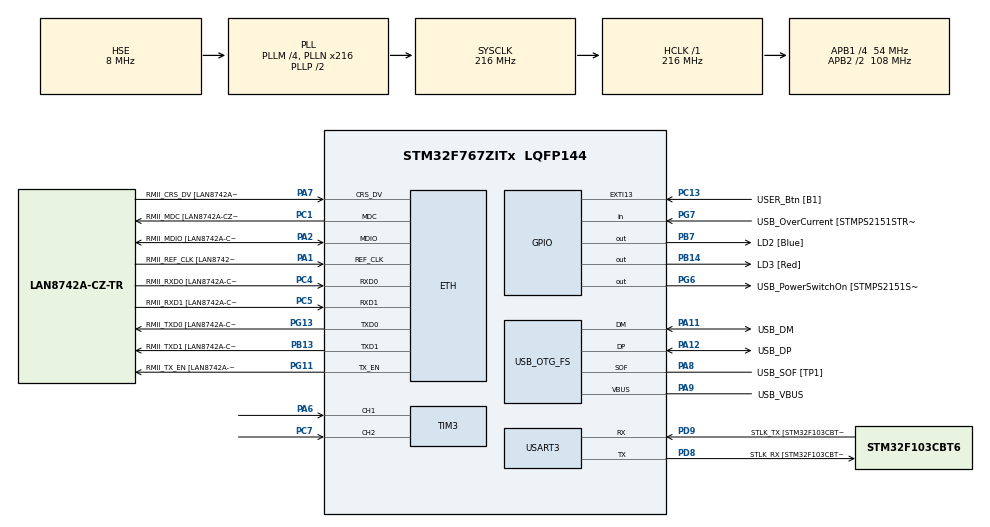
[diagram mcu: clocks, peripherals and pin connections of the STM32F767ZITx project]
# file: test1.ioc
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CORTEX_M7.default_mode_Activation=1
ETH.MediaInterface=HAL_ETH_RMII_MODE
ETH.PHY_Name=LAN8742A_PHY_ADDRESS
ETH.PHY_Value=0
ETH.PhyAddress=0
LWIP.BSP.number=1
LWIP.GATEWAY_ADDRESS=192.168.001.001
LWIP.IP_ADDRESS=192.168.001.100
LWIP.LWIP_DHCP=0
LWIP.NETMASK_ADDRESS=255.255.255.000
LWIP.Version=v2.1.2_Cube
LWIP0.BSP.STBoard=false
LWIP0.BSP.api=BSP_COMPONENT_DRIVER
LWIP0.BSP.component=LAN8742
LWIP0.BSP.instance=LAN8742
LWIP0.BSP.name=Driver_PHY
LWIP0.BSP.semaphore=S_LAN8742
LWIP0.BSP.solution=LAN8742
Mcu.Family=STM32F7
Mcu.Name=STM32F767ZITx
Mcu.Package=LQFP144
NVIC.PriorityGroup=NVIC_PRIORITYGROUP_4
PA1.GPIO_Label=RMII_REF_CLK [LAN8742A-CZ-TR_REFCLK0]
PA1.Mode=RMII
PA1.Signal=ETH_REF_CLK
PA10.GPIO_Label=USB_ID
PA10.Signal=USB_OTG_FS_ID
PA11.GPIO_Label=USB_DM
PA11.Mode=Device_Only
PA11.Signal=USB_OTG_FS_DM
PA12.GPIO_Label=USB_DP
PA12.Mode=Device_Only
PA12.Signal=USB_OTG_FS_DP
PA13.GPIO_Label=TMS
PA13.Mode=Serial_Wire
PA13.Signal=SYS_JTMS-SWDIO
PA14.GPIO_Label=TCK
PA14.Mode=Serial_Wire
PA14.Signal=SYS_JTCK-SWCLK
PA2.GPIO_Label=RMII_MDIO [LAN8742A-CZ-TR_MDIO]
PA2.Mode=RMII
PA2.Signal=ETH_MDIO
PA6.Signal=S_TIM3_CH1
PA7.GPIO_Label=RMII_CRS_DV [LAN8742A-CZ-TR_CRS_DV]
PA7.Mode=RMII
PA7.Signal=ETH_CRS_DV
PA8.GPIO_Label=USB_SOF [TP1]
PA8.Mode=Activate_SOF_FS
PA8.Signal=USB_OTG_FS_SOF
PA9.GPIO_Label=USB_VBUS
PA9.Mode=Activate_VBUS
PA9.Signal=USB_OTG_FS_VBUS
PB13.GPIO_Label=RMII_TXD1 [LAN8742A-CZ-TR_TXD1]
PB13.Mode=RMII
PB13.Signal=ETH_TXD1
PB14.GPIO_Label=LD3 [Red]
PB14.Signal=GPIO_Output
PB3.GPIO_Label=SWO
PB3.Signal=SYS_JTDO-SWO
PB7.GPIO_Label=LD2 [Blue]
PB7.Signal=GPIO_Output
PC1.GPIO_Label=RMII_MDC [LAN8742A-CZ-TR_MDC]
PC1.Mode=RMII
PC1.Signal=ETH_MDC
PC13.GPIO_Label=USER_Btn [B1]
PC13.Signal=GPXTI13
PC14/OSC32_IN.Mode=LSE-External-Oscillator
PC14/OSC32_IN.Signal=RCC_OSC32_IN
PC15/OSC32_OUT.Mode=LSE-External-Oscillator
PC15/OSC32_OUT.Signal=RCC_OSC32_OUT
PC4.GPIO_Label=RMII_RXD0 [LAN8742A-CZ-TR_RXD0]
PC4.Mode=RMII
PC4.Signal=ETH_RXD0
PC5.GPIO_Label=RMII_RXD1 [LAN8742A-CZ-TR_RXD1]
PC5.Mode=RMII
PC5.Signal=ETH_RXD1
PC7.Signal=S_TIM3_CH2
PD8.GPIO_Label=STLK_RX [STM32F103CBT6_PA3]
PD8.Mode=Asynchronous
PD8.Signal=USART3_TX
PD9.GPIO_Label=STLK_TX [STM32F103CBT6_PA2]
PD9.Mode=Asynchronous
PD9.Signal=USART3_RX
PG11.GPIO_Label=RMII_TX_EN [LAN8742A-CZ-TR_TXEN]
PG11.Mode=RMII
PG11.Signal=ETH_TX_EN
PG13.GPIO_Label=RMII_TXD0 [LAN8742A-CZ-TR_TXD0]
PG13.Mode=RMII
PG13.Signal=ETH_TXD0
PG6.GPIO_Label=USB_PowerSwitchOn [STMPS2151STR_EN]
PG6.Signal=GPIO_Output
PG7.GPIO_Label=USB_OverCurrent [STMPS2151STR_FAULT]
PG7.Signal=GPIO_Input
PH0/OSC_IN.GPIO_Label=MCO [STM32F103CBT6_PA8]
PH0/OSC_IN.Mode=HSE-External-Clock-Source
PH0/OSC_IN.Signal=RCC_OSC_IN
PH1/OSC_OUT.Mode=HSE-External-Clock-Source
PH1/OSC_OUT.Signal=RCC_OSC_OUT
ProjectManager.HeapSize=0x200
ProjectManager.StackSize=0x400
ProjectManager.TargetToolchain=STM32CubeIDE
RCC.48MHZClocksFreq_Value=24000000
RCC.AHBFreq_Value=216000000
RCC.APB1CLKDivider=RCC_HCLK_DIV4
RCC.APB1Freq_Value=54000000
RCC.APB1TimFreq_Value=108000000
RCC.APB2CLKDivider=RCC_HCLK_DIV2
RCC.APB2Freq_Value=108000000
RCC.APB2TimFreq_Value=216000000
RCC.CortexFreq_Value=216000000
RCC.HCLKFreq_Value=216000000
RCC.HSE_VALUE=8000000
RCC.HSI_VALUE=16000000
RCC.PLLM=4
RCC.PLLMUL=RCC_PLL_MUL9
RCC.PLLN=216
RCC.PLLQ=9
RCC.PRESCALERUSB=RCC_USBCLKSOURCE_PLL_DIV1_5
RCC.SYSCLKFreq_VALUE=216000000
RCC.SYSCLKSource=RCC_SYSCLKSOURCE_PLLCLK
RCC.SYSCLKSourceVirtual=RCC_SYSCLKSOURCE_PLLCLK
RCC.USBFreq_Value=48000000
RCC.VCOOutputFreq_Value=432000000
SH.S_TIM3_CH1.0=TIM3_CH1,Encoder_Interface
SH.S_TIM3_CH2.0=TIM3_CH2,Encoder_Interface
TIM3.EncoderMode=TIM_ENCODERMODE_TI12
USART3.VirtualMode-Asynchronous=VM_ASYNC
USB_OTG_FS.VirtualMode=Device_Only
VP_LWIP_VS_Enabled.Mode=Enabled
board=NUCLEO-F767ZI

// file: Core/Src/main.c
/* USER CODE BEGIN Header */
/**
  ******************************************************************************
  * @file           : main.c
  * @brief          : Main program body
  ******************************************************************************
  * @attention
  *
  * Copyright (c) 2026 STMicroelectronics.
  * All rights reserved.
  *
  * This software is licensed under terms that can be found in the LICENSE file
  * in the root directory of this software component.
  * If no LICENSE file comes with this software, it is provided AS-IS.
  *
  ******************************************************************************
  */
/* USER CODE END Header */
#include "main.h"
#include "lwip.h"

/* USER CODE BEGIN Includes */
#include "tcp_server.h"

/* USER CODE END Includes */

TIM_HandleTypeDef htim3;

UART_HandleTypeDef huart3;

PCD_HandleTypeDef hpcd_USB_OTG_FS;

/* USER CODE BEGIN PV */

/* Encoder state */
volatile int32_t encoder_position = 0;   /* cumulative count (never wraps)   */
volatile float   encoder_rpm      = 0.0f;

/* Internal tracking */
static uint32_t last_tick_ms = 0;
static uint16_t last_timer   = 0;

/* Timer period — must match what you set in CubeMX for TIM2 counter period   */
#define ENCODER_TIMER_PERIOD   65535u
/* Pulses per revolution × 4 (quadrature)                                    */
#define ENCODER_PPR            1000u
#define ENCODER_CPR            (ENCODER_PPR * 4u)   /* = 4000 counts/rev     */

/* USER CODE END PV */

void SystemClock_Config(void);
static void MPU_Config(void);
static void MX_GPIO_Init(void);
static void MX_USART3_UART_Init(void);
static void MX_USB_OTG_FS_PCD_Init(void);
static void MX_TIM3_Init(void);

int main(void)
{

  /* MPU Configuration--------------------------------------------------------*/
  MPU_Config();

  /* MCU Configuration--------------------------------------------------------*/

  /* Reset of all peripherals, Initializes the Flash interface and the Systick. */
  HAL_Init();

  /* Configure the system clock */
  SystemClock_Config();

  /* Initialize all configured peripherals */
  MX_GPIO_Init();
  MX_USART3_UART_Init();
  MX_USB_OTG_FS_PCD_Init();
  MX_LWIP_Init();
  MX_TIM3_Init();
  /* USER CODE BEGIN 2 */

  /* Start encoder timer — TIM2 in encoder mode */
  HAL_TIM_Encoder_Start(&htim3, TIM_CHANNEL_ALL);
  last_timer   = (uint16_t)__HAL_TIM_GET_COUNTER(&htim3);
  last_tick_ms = HAL_GetTick();

  /* Start HTTP server */
  tcp_server_init();

  /* USER CODE END 2 */

  /* Infinite loop */
  while (1)
  {

    /* USER CODE BEGIN 3 */
	  MX_LWIP_Process();

	      /* Encoder position update every 100ms */
	      uint32_t now = HAL_GetTick();
	      if ((now - last_tick_ms) >= 100)
	      {
	          uint16_t current_timer = (uint16_t)__HAL_TIM_GET_COUNTER(&htim3);
	          int16_t delta = (int16_t)(current_timer - last_timer);
	          encoder_position += (int32_t)delta;
	          last_timer   = current_timer;
	          last_tick_ms = now;
	      }
  }
  /* USER CODE END 3 */
}

void SystemClock_Config(void)
{
  RCC_OscInitTypeDef RCC_OscInitStruct = {0};
  RCC_ClkInitTypeDef RCC_ClkInitStruct = {0};

  /** Configure LSE Drive Capability
  */
  HAL_PWR_EnableBkUpAccess();

  /** Configure the main internal regulator output voltage
  */
  __HAL_RCC_PWR_CLK_ENABLE();
  __HAL_PWR_VOLTAGESCALING_CONFIG(PWR_REGULATOR_VOLTAGE_SCALE1);

  /** Initializes the RCC Oscillators according to the specified parameters
  * in the RCC_OscInitTypeDef structure.
  */
  RCC_OscInitStruct.OscillatorType = RCC_OSCILLATORTYPE_HSE;
  RCC_OscInitStruct.HSEState = RCC_HSE_BYPASS;
  RCC_OscInitStruct.PLL.PLLState = RCC_PLL_ON;
  RCC_OscInitStruct.PLL.PLLSource = RCC_PLLSOURCE_HSE;
  RCC_OscInitStruct.PLL.PLLM = 4;
  RCC_OscInitStruct.PLL.PLLN = 216;
  RCC_OscInitStruct.PLL.PLLP = RCC_PLLP_DIV2;
  RCC_OscInitStruct.PLL.PLLQ = 9;
  RCC_OscInitStruct.PLL.PLLR = 2;
  if (HAL_RCC_OscConfig(&RCC_OscInitStruct) != HAL_OK)
  {
    Error_Handler();
  }

  /** Activate the Over-Drive mode
  */
  if (HAL_PWREx_EnableOverDrive() != HAL_OK)
  {
    Error_Handler();
  }

  /** Initializes the CPU, AHB and APB buses clocks
  */
  RCC_ClkInitStruct.ClockType = RCC_CLOCKTYPE_HCLK|RCC_CLOCKTYPE_SYSCLK
                              |RCC_CLOCKTYPE_PCLK1|RCC_CLOCKTYPE_PCLK2;
  RCC_ClkInitStruct.SYSCLKSource = RCC_SYSCLKSOURCE_PLLCLK;
  RCC_ClkInitStruct.AHBCLKDivider = RCC_SYSCLK_DIV1;
  RCC_ClkInitStruct.APB1CLKDivider = RCC_HCLK_DIV4;
  RCC_ClkInitStruct.APB2CLKDivider = RCC_HCLK_DIV2;

  if (HAL_RCC_ClockConfig(&RCC_ClkInitStruct, FLASH_LATENCY_7) != HAL_OK)
  {
    Error_Handler();
  }
}

static void MX_TIM3_Init(void)
{

  TIM_Encoder_InitTypeDef sConfig = {0};
  TIM_MasterConfigTypeDef sMasterConfig = {0};

  htim3.Instance = TIM3;
  htim3.Init.Prescaler = 0;
  htim3.Init.CounterMode = TIM_COUNTERMODE_UP;
  htim3.Init.Period = 65535;
  htim3.Init.ClockDivision = TIM_CLOCKDIVISION_DIV1;
  htim3.Init.AutoReloadPreload = TIM_AUTORELOAD_PRELOAD_DISABLE;
  sConfig.EncoderMode = TIM_ENCODERMODE_TI12;
  sConfig.IC1Polarity = TIM_ICPOLARITY_RISING;
  sConfig.IC1Selection = TIM_ICSELECTION_DIRECTTI;
  sConfig.IC1Prescaler = TIM_ICPSC_DIV1;
  sConfig.IC1Filter = 0;
  sConfig.IC2Polarity = TIM_ICPOLARITY_RISING;
  sConfig.IC2Selection = TIM_ICSELECTION_DIRECTTI;
  sConfig.IC2Prescaler = TIM_ICPSC_DIV1;
  sConfig.IC2Filter = 0;
  if (HAL_TIM_Encoder_Init(&htim3, &sConfig) != HAL_OK)
  {
    Error_Handler();
  }
  sMasterConfig.MasterOutputTrigger = TIM_TRGO_RESET;
  sMasterConfig.MasterSlaveMode = TIM_MASTERSLAVEMODE_DISABLE;
  if (HAL_TIMEx_MasterConfigSynchronization(&htim3, &sMasterConfig) != HAL_OK)
  {
    Error_Handler();
  }

}

static void MX_USART3_UART_Init(void)
{

  huart3.Instance = USART3;
  huart3.Init.BaudRate = 115200;
  huart3.Init.WordLength = UART_WORDLENGTH_8B;
  huart3.Init.StopBits = UART_STOPBITS_1;
  huart3.Init.Parity = UART_PARITY_NONE;
  huart3.Init.Mode = UART_MODE_TX_RX;
  huart3.Init.HwFlowCtl = UART_HWCONTROL_NONE;
  huart3.Init.OverSampling = UART_OVERSAMPLING_16;
  huart3.Init.OneBitSampling = UART_ONE_BIT_SAMPLE_DISABLE;
  huart3.AdvancedInit.AdvFeatureInit = UART_ADVFEATURE_NO_INIT;
  if (HAL_UART_Init(&huart3) != HAL_OK)
  {
    Error_Handler();
  }

}

static void MX_USB_OTG_FS_PCD_Init(void)
{

  hpcd_USB_OTG_FS.Instance = USB_OTG_FS;
  hpcd_USB_OTG_FS.Init.dev_endpoints = 6;
  hpcd_USB_OTG_FS.Init.speed = PCD_SPEED_FULL;
  hpcd_USB_OTG_FS.Init.dma_enable = DISABLE;
  hpcd_USB_OTG_FS.Init.phy_itface = PCD_PHY_EMBEDDED;
  hpcd_USB_OTG_FS.Init.Sof_enable = ENABLE;
  hpcd_USB_OTG_FS.Init.low_power_enable = DISABLE;
  hpcd_USB_OTG_FS.Init.lpm_enable = DISABLE;
  hpcd_USB_OTG_FS.Init.vbus_sensing_enable = ENABLE;
  hpcd_USB_OTG_FS.Init.use_dedicated_ep1 = DISABLE;
  if (HAL_PCD_Init(&hpcd_USB_OTG_FS) != HAL_OK)
  {
    Error_Handler();
  }

}

static void MX_GPIO_Init(void)
{
  GPIO_InitTypeDef GPIO_InitStruct = {0};

  /* GPIO Ports Clock Enable */
  __HAL_RCC_GPIOC_CLK_ENABLE();
  __HAL_RCC_GPIOH_CLK_ENABLE();
  __HAL_RCC_GPIOA_CLK_ENABLE();
  __HAL_RCC_GPIOB_CLK_ENABLE();
  __HAL_RCC_GPIOD_CLK_ENABLE();
  __HAL_RCC_GPIOG_CLK_ENABLE();

  /*Configure GPIO pin Output Level */
  HAL_GPIO_WritePin(GPIOB, LD3_Pin|LD2_Pin, GPIO_PIN_RESET);

  /*Configure GPIO pin Output Level */
  HAL_GPIO_WritePin(USB_PowerSwitchOn_GPIO_Port, USB_PowerSwitchOn_Pin, GPIO_PIN_RESET);

  /*Configure GPIO pin : USER_Btn_Pin */
  GPIO_InitStruct.Pin = USER_Btn_Pin;
  GPIO_InitStruct.Mode = GPIO_MODE_IT_RISING;
  GPIO_InitStruct.Pull = GPIO_NOPULL;
  HAL_GPIO_Init(USER_Btn_GPIO_Port, &GPIO_InitStruct);

  /*Configure GPIO pins : LD3_Pin LD2_Pin */
  GPIO_InitStruct.Pin = LD3_Pin|LD2_Pin;
  GPIO_InitStruct.Mode = GPIO_MODE_OUTPUT_PP;
  GPIO_InitStruct.Pull = GPIO_NOPULL;
  GPIO_InitStruct.Speed = GPIO_SPEED_FREQ_LOW;
  HAL_GPIO_Init(GPIOB, &GPIO_InitStruct);

  /*Configure GPIO pin : USB_PowerSwitchOn_Pin */
  GPIO_InitStruct.Pin = USB_PowerSwitchOn_Pin;
  GPIO_InitStruct.Mode = GPIO_MODE_OUTPUT_PP;
  GPIO_InitStruct.Pull = GPIO_NOPULL;
  GPIO_InitStruct.Speed = GPIO_SPEED_FREQ_LOW;
  HAL_GPIO_Init(USB_PowerSwitchOn_GPIO_Port, &GPIO_InitStruct);

  /*Configure GPIO pin : USB_OverCurrent_Pin */
  GPIO_InitStruct.Pin = USB_OverCurrent_Pin;
  GPIO_InitStruct.Mode = GPIO_MODE_INPUT;
  GPIO_InitStruct.Pull = GPIO_NOPULL;
  HAL_GPIO_Init(USB_OverCurrent_GPIO_Port, &GPIO_InitStruct);

}

 /* MPU Configuration */

void MPU_Config(void)
{
  MPU_Region_InitTypeDef MPU_InitStruct = {0};

  /* Disables the MPU */
  HAL_MPU_Disable();

  /** Initializes and configures the Region and the memory to be protected
  */
  MPU_InitStruct.Enable = MPU_REGION_ENABLE;
  MPU_InitStruct.Number = MPU_REGION_NUMBER0;
  MPU_InitStruct.BaseAddress = 0x0;
  MPU_InitStruct.Size = MPU_REGION_SIZE_4GB;
  MPU_InitStruct.SubRegionDisable = 0x87;
  MPU_InitStruct.TypeExtField = MPU_TEX_LEVEL0;
  MPU_InitStruct.AccessPermission = MPU_REGION_NO_ACCESS;
  MPU_InitStruct.DisableExec = MPU_INSTRUCTION_ACCESS_DISABLE;
  MPU_InitStruct.IsShareable = MPU_ACCESS_SHAREABLE;
  MPU_InitStruct.IsCacheable = MPU_ACCESS_NOT_CACHEABLE;
  MPU_InitStruct.IsBufferable = MPU_ACCESS_NOT_BUFFERABLE;

  HAL_MPU_ConfigRegion(&MPU_InitStruct);
  /* Enables the MPU */
  HAL_MPU_Enable(MPU_PRIVILEGED_DEFAULT);

}

void Error_Handler(void)
{
  __disable_irq();
  while (1)
  {
  }
}
